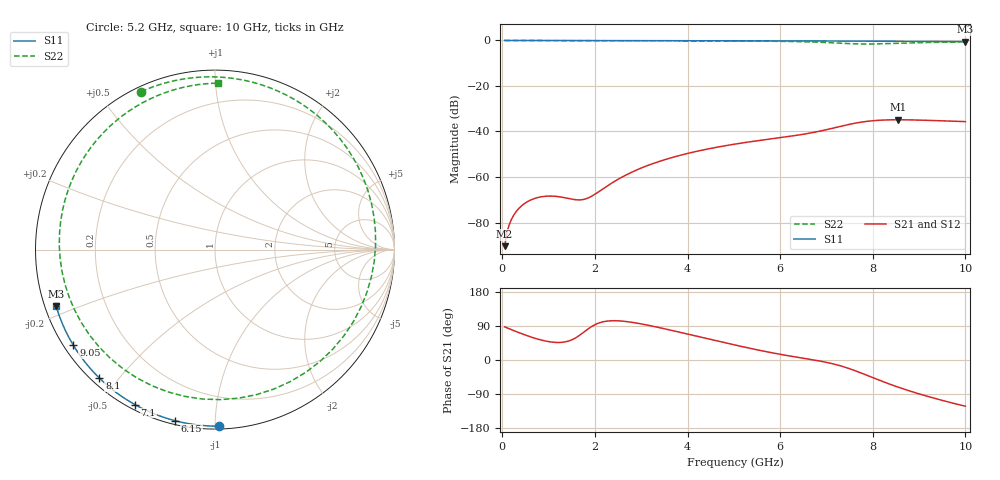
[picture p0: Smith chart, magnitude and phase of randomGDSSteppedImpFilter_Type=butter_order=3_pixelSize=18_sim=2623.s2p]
! freq	dB(S11)	phase(S11)	dB(S12)	phase(S12)
!  dB(S21)	phase(S21)	dB(S22)	phase(S22)
!S-par simulation data
#  GHz  S  DB  R 50
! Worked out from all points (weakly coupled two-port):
!   200 points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, 50 MHz to 10 GHz, reference 50 ohm
!   highest |S21| = -34.85 dB at 8.55 GHz (marker M1); lowest = -90.4 dB at 50 MHz (marker M2)
!   lowest |S11| = -0.5 dB at 10 GHz (marker M3), VSWR 32.04, Z = 1.61 - j8.64 ohm
!   |S11| at or under -10 dB: nowhere
!   |S22| runs from -1.6 to 0.0 dB; largest |S21 - S12| = 0
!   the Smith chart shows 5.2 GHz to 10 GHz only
!   S11 on the Smith chart (normalised r, x): 5.2 GHz: 0.02, -1.02; 6.15 GHz: 0.02, -0.79; 7.1 GHz: 0.02, -0.61; 8.1 GHz: 0.02, -0.45; 9.05 GHz: 0.03, -0.31; 10 GHz: 0.03, -0.17
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0.05  -0.00 -0.9  -90.39 87.5  -90.39 87.5  -0.00 -4.2
0.5  -0.01 -9.1  -71.38 65.7  -71.38 65.7  -0.05 -41.1
0.85  -0.02 -15.4  -68.67 52.4  -68.67 52.4  -0.08 -67.1
1.25  -0.03 -22.6  -68.74 46.3  -68.74 46.3  -0.10 -92.9
1.75  -0.04 -31.5  -69.88 72.5  -69.88 72.5  -0.11 -119.8
2.5  -0.06 -44.5  -61.01 103.4  -61.01 103.4  -0.12 -152.1
3.4  -0.08 -59.8  -53.09 85.2  -53.09 85.2  -0.14 176.2
4.25  -0.10 -73.7  -48.48 61.3  -48.48 61.3  -0.18 148.4
5.05  -0.13 -86.3  -45.45 38.8  -45.45 38.8  -0.23 120.7
5.2  -0.14 -88.7  -44.98 34.8  -44.98 34.8  -0.25 115.0
6.15  -0.19 -103.2  -42.29 11.8  -42.29 11.8  -0.43 71.2
6.7  -0.22 -111.4  -40.49 0.6  -40.49 0.6  -0.68 33.8
7.1  -0.25 -117.3  -38.74 -8.9  -38.74 -8.9  -1.01 -4.2
7.35  -0.26 -121.0  -37.53 -17.1  -37.53 -17.1  -1.27 -33.8
7.65  -0.29 -125.4  -36.24 -29.7  -36.24 -29.7  -1.51 -74.1
7.85  -0.31 -128.3  -35.61 -39.2  -35.61 -39.2  -1.57 -101.6
8.1  -0.33 -131.9  -35.11 -51.4  -35.11 -51.4  -1.51 -133.9
8.35  -0.35 -135.6  -34.89 -63.1  -34.89 -63.1  -1.36 -162.1
8.55  -0.37 -138.6  -34.85 -71.8  -34.85 -71.8  -1.23 178.6
9.05  -0.42 -146.0  -35.02 -91.2  -35.02 -91.2  -0.95 140.1
9.5  -0.48 -152.7  -35.32 -106.6  -35.32 -106.6  -0.78 113.5
10  -0.54 -160.4  -35.66 -121.9  -35.66 -121.9  -0.65 88.8
